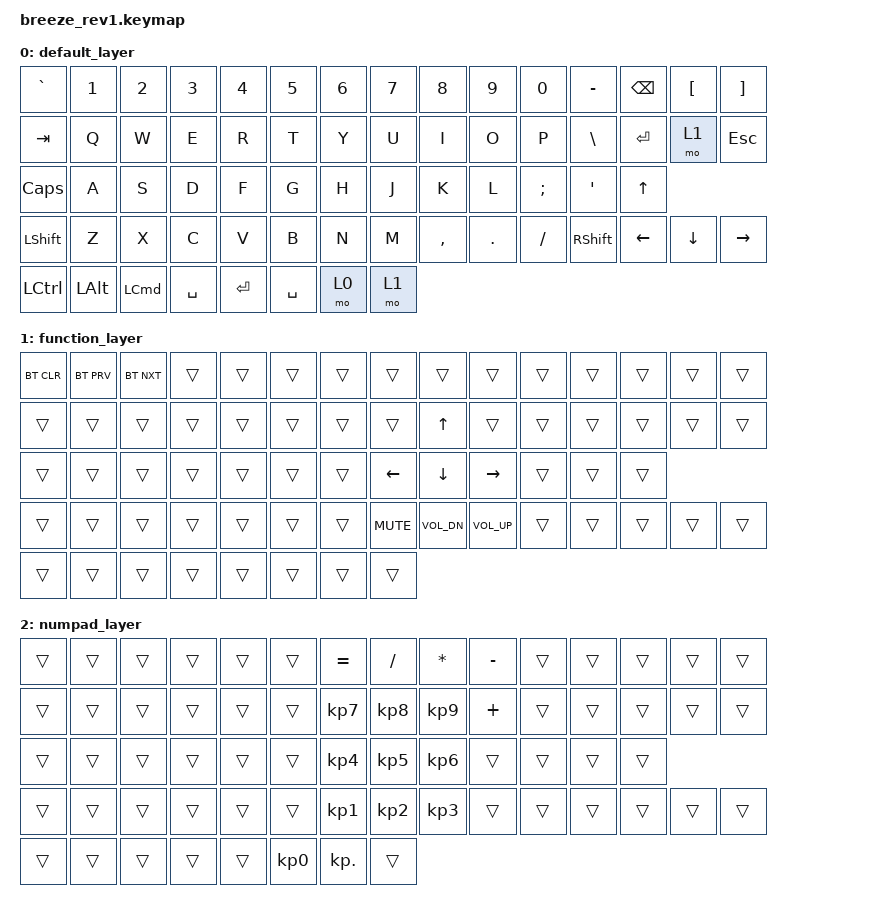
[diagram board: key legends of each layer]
/*
 * Copyright (c) 2022 The ZMK Contributors
 *
 * SPDX-License-Identifier: MIT
 */

#include <behaviors.dtsi>
#include <dt-bindings/zmk/bt.h>
#include <dt-bindings/zmk/keys.h>

/ {
    combos {
        compatible = "zmk,combos";

        LockScreen {
            bindings = <&kt K_SCREENSAVER>;
            key-positions = <61 62>;
        };

        VolumeUp {
            bindings = <&kt K_VOLUME_UP>;
            key-positions = <42 65>;
        };

        VolumeDown {
            bindings = <&kt K_VOLUME_DOWN>;
            key-positions = <56 65>;
        };

        Mute {
            bindings = <&kt K_MUTE>;
            key-positions = <65 55>;
        };
    };

    keymap {
        compatible = "zmk,keymap";

        default_layer {
            // Ref: https://zmkfirmware.dev/docs/codes/
            // ---  MAIN  -----------------------------------------------------------------------------------------------------------------------
            // |    ESC    |     1     |     2     |     3      |      4      |      5     |                           |      6      |      7     |      8      |      9     |     0    |    BSPC    | |    -/_    |     =/+     |    GRAVE    |
            // |    TAB    |     Q     |     W     |     E      |      R      |      T     |                           |      Y      |      U     |      I      |      O     |     P    |    DEL     | |     \     |      [      |      ]      |
            // |   LCTRL   |     A     |     S     |     D      |      F      |      G     |                           |      H      |      J     |      K      |      L     |     ;    |     '      | |           |      UP     |             |
            // |   SHIFT   |     Z     |     X     |     C      |      V      |      B     |                           |      N      |      M     |      ,      |      .     |     /    |   RSHIFT   | |     L     |      DN     |      R      |
            //                                     |   NUMPAD   |     LALT    |    LCMD    |   SPACE    |  |   ENTER   |   FUNCTION  |  MACOS APP |  MACOS LANG |

            bindings = <
&kp GRAVE     &kp N1    &kp N2    &kp N3     &kp N4   &kp N5     &kp N6  &kp N7  &kp N8     &kp N9   &kp N0    &kp MINUS      &kp BACKSPACE  &kp LEFT_BRACKET  &kp RIGHT_BRACKET
&kp TAB       &kp Q     &kp W     &kp E      &kp R    &kp T      &kp Y   &kp U   &kp I      &kp O    &kp P     &kp BACKSLASH  &kp ENTER      &mo 1             &kp ESCAPE
&kp CAPSLOCK  &kp A     &kp S     &kp D      &kp F    &kp G      &kp H   &kp J   &kp K      &kp L    &kp SEMI  &kp APOS       &kp UP
&kp LSHFT     &kp Z     &kp X     &kp C      &kp V    &kp B      &kp N   &kp M   &kp COMMA  &kp DOT  &kp FSLH  &kp RSHIFT     &kp LEFT       &kp DOWN          &kp RIGHT
&kp LCTRL     &kp LALT  &kp LCMD  &kp SPACE  &kp RET  &kp SPACE  &mo 0   &mo 1
            >;
        };

        function_layer {
            // ---  FUNCTION  -------------------------------------------------------------------------------------------------------------------
            // | BT Clear  |  BT Prev  |  BT Next  |            |             |            |                           |             |            |             |            |          |            | |           |             |             |
            // |           |           |           |            |             |            |                           |             |            |     UP      |            |          |            | |           |             |             |
            // |           |           |           |            |             |            |                           |             |    LEFT    |    DOWN     |   RIGHT    |          |            | |           |             |             |
            // |           |           |           |            |             |            |                           |             |    MUTE    |  VOL DOWN   |   VOL UP   |          |            | |           |             |             |
            //                                     |            |             |            |            |  |           |             |            |             |

            bindings = <
&bt BT_CLR  &bt BT_PRV  &bt BT_NXT  &trans  &trans  &trans  &trans  &trans      &trans        &trans        &trans  &trans  &trans  &trans  &trans
&trans      &trans      &trans      &trans  &trans  &trans  &trans  &trans      &kp UP        &trans        &trans  &trans  &trans  &trans  &trans
&trans      &trans      &trans      &trans  &trans  &trans  &trans  &kp LEFT    &kp DOWN      &kp RIGHT     &trans  &trans  &trans
&trans      &trans      &trans      &trans  &trans  &trans  &trans  &kp C_MUTE  &kp C_VOL_DN  &kp C_VOL_UP  &trans  &trans  &trans  &trans  &trans
&trans      &trans      &trans      &trans  &trans  &trans  &trans  &trans
            >;
        };

        numpad_layer {
            // ---  NUMPAD  -------------------------------------------------------------------------------------------------------------------
            // |           |           |           |            |             |            |                           |       =       |      /       |      *       |      -     |          |            | |           |             |             |
            // |           |           |           |            |             |            |                           |       7       |      8       |      9       |      +     |          |            | |           |             |             |
            // |           |           |           |            |             |            |                           |       4       |      5       |      6       |            |          |            | |           |             |             |
            // |           |           |           |            |             |            |                           |       1       |      2       |      3       |            |          |            | |           |             |             |
            //                                     |            |             |            |            |  |           |       0       |      .       |              |

            bindings = <
&trans  &trans  &trans  &trans  &trans  &trans           &kp EQUAL        &kp SLASH        &kp STAR         &kp MINUS  &trans  &trans  &trans  &trans  &trans
&trans  &trans  &trans  &trans  &trans  &trans           &kp KP_NUMBER_7  &kp KP_NUMBER_8  &kp KP_NUMBER_9  &kp PLUS   &trans  &trans  &trans  &trans  &trans
&trans  &trans  &trans  &trans  &trans  &trans           &kp KP_NUMBER_4  &kp KP_NUMBER_5  &kp KP_NUMBER_6  &trans     &trans  &trans  &trans
&trans  &trans  &trans  &trans  &trans  &trans           &kp KP_NUMBER_1  &kp KP_NUMBER_2  &kp KP_NUMBER_3  &trans     &trans  &trans  &trans  &trans  &trans
&trans  &trans  &trans  &trans  &trans  &kp KP_NUMBER_0  &kp KP_DOT       &trans
            >;
        };
    };
};
